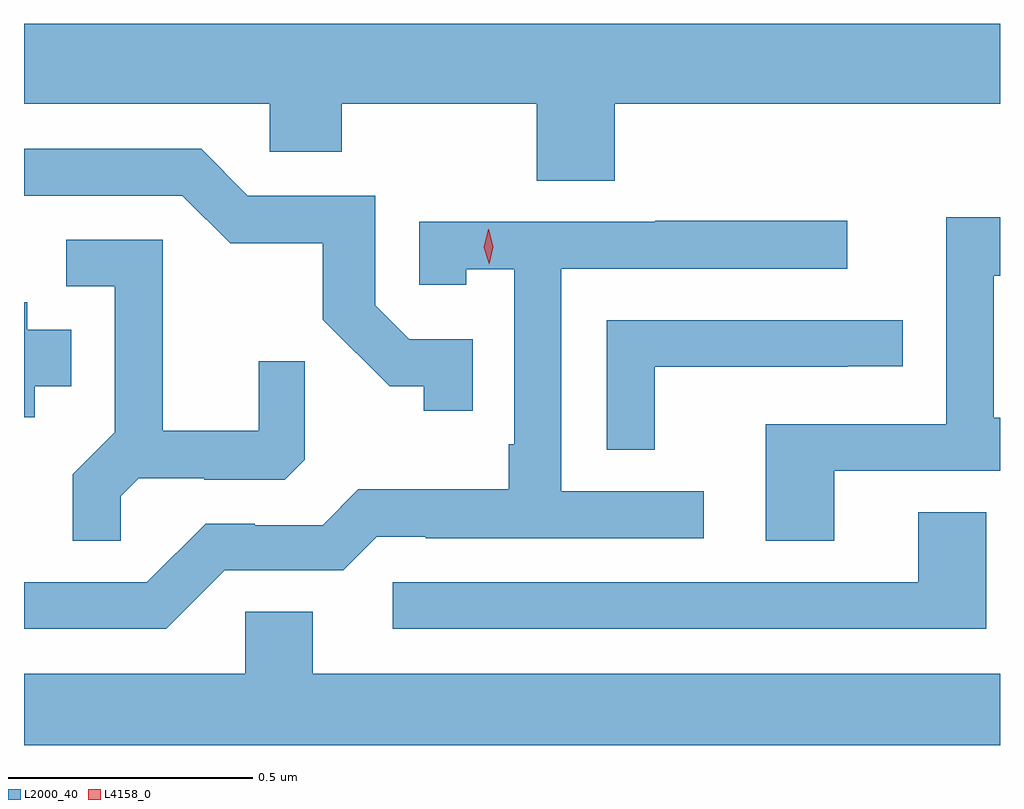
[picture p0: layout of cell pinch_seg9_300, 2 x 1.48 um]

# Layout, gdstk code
import gdstk
lib = gdstk.Library(unit=1e-6, precision=1e-09)
def P(c, l, *ps):  # polygons
    for p in ps: c.add(gdstk.Polygon(p, *l))
L2000_40 = (2000, 40)
L4158_0 = (4158, 0)

pinch_seg9_300 = lib.new_cell('pinch_seg9_300')
P(pinch_seg9_300, L2000_40, [(505.484,1200.416),(506.273,1200.416),(506.273,1200.58),(504.273,1200.58),(504.273,1200.416),(504.777,1200.416),(504.777,1200.318),(504.924,1200.318),(504.924,1200.416),(505.324,1200.416),(505.324,1200.259),(505.484,1200.259)],
  [(505.193,1199.934),(505.062,1199.934),(504.993,1200.003),(504.993,1200.228),(504.732,1200.228),(504.636,1200.324),(504.273,1200.324),(504.273,1200.228),(504.597,1200.228),(504.696,1200.13),(504.885,1200.13),(504.885,1199.974),(505.022,1199.837),(505.092,1199.837),(505.092,1199.787),(505.193,1199.787)],
  [(505.933,1199.664),(506.273,1199.664),(506.273,1199.773),(506.26,1199.773),(506.26,1200.064),(506.273,1200.064),(506.273,1200.184),(506.163,1200.184),(506.163,1199.76),(505.793,1199.76),(505.793,1199.521),(505.933,1199.521)],
  [(504.684,1199.46),(504.927,1199.46),(504.996,1199.529),(505.096,1199.529),(505.096,1199.526),(505.666,1199.526),(505.666,1199.622),(505.374,1199.622),(505.374,1200.078),(505.96,1200.078),(505.96,1200.177),(505.567,1200.177),(505.567,1200.174),(505.083,1200.174),(505.083,1200.045),(505.179,1200.045),(505.179,1200.077),(505.278,1200.077),(505.278,1199.719),(505.266,1199.719),(505.266,1199.626),(504.958,1199.626),(504.885,1199.553),(504.746,1199.553),(504.746,1199.556),(504.645,1199.556),(504.525,1199.436),(504.273,1199.436),(504.273,1199.34),(504.564,1199.34)],
  [(504.471,1199.612),(504.508,1199.649),(504.642,1199.649),(504.642,1199.646),(504.807,1199.646),(504.848,1199.687),(504.848,1199.889),(504.754,1199.889),(504.754,1199.746),(504.557,1199.746),(504.557,1200.138),(504.36,1200.138),(504.36,1200.042),(504.459,1200.042),(504.459,1199.743),(504.373,1199.657),(504.373,1199.521),(504.471,1199.521)],
  [(504.295,1199.837),(504.37,1199.837),(504.37,1199.953),(504.28,1199.953),(504.28,1200.01),(504.273,1200.01),(504.273,1199.774),(504.295,1199.774)],
  [(505.566,1199.877),(505.961,1199.877),(505.961,1199.878),(506.074,1199.878),(506.074,1199.973),(505.467,1199.973),(505.467,1199.707),(505.566,1199.707)],
  [(506.245,1199.579),(506.105,1199.579),(506.105,1199.436),(505.029,1199.436),(505.029,1199.34),(506.245,1199.34)],
  [(506.273,1199.248),(504.865,1199.248),(504.865,1199.375),(504.726,1199.375),(504.726,1199.248),(504.273,1199.248),(504.273,1199.102),(506.273,1199.102)])
P(pinch_seg9_300, L4158_0, [(505.226,1200.087),(505.226,1200.087),(505.215,1200.122),(505.224,1200.159),(505.225,1200.159),(505.225,1200.159),(505.235,1200.123),(505.226,1200.087)])

lib.write_gds('pinch_seg9_300.gds')
